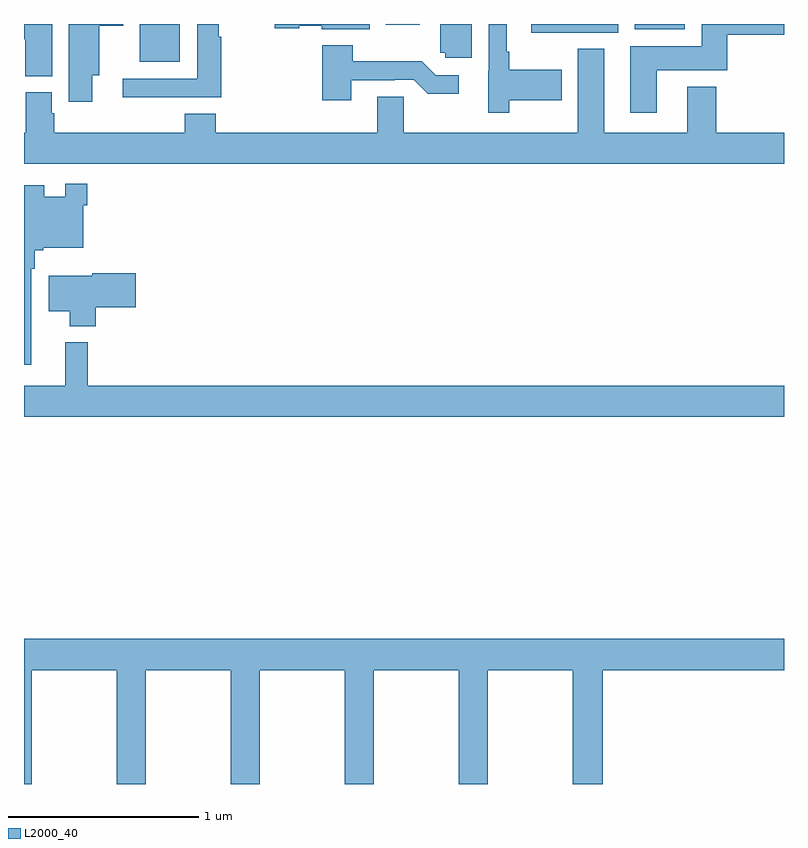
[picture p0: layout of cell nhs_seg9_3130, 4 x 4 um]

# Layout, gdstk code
import gdstk
lib = gdstk.Library(unit=1e-6, precision=1e-09)
def R(c, l, rs):  # rectangles x0, y0, x1, y1
    for r in rs: c.add(gdstk.rectangle(r[:2], r[2:], *l))
def P(c, l, *ps):  # polygons
    for p in ps: c.add(gdstk.Polygon(p, *l))
L2000_40 = (2000, 40)

nhs_seg9_3130 = lib.new_cell('nhs_seg9_3130')
R(nhs_seg9_3130, L2000_40, [(291.608,1186.301,291.82,1186.5), (293.67,1186.454,294.127,1186.5), (294.215,1186.472,294.478,1186.5), (292.905,1186.496,293.083,1186.5)])
P(nhs_seg9_3130, L2000_40, [(293.554,1186.1),(293.83,1186.1),(293.83,1186.258),(293.554,1186.258),(293.554,1186.354),(293.541,1186.354),(293.541,1186.5),(293.445,1186.5),(293.445,1186.254),(293.444,1186.254),(293.444,1186.032),(293.554,1186.032)],
  [(293.356,1186.5),(293.192,1186.5),(293.192,1186.35),(293.217,1186.35),(293.217,1186.323),(293.356,1186.323)],
  [(292.037,1186.433),(292.024,1186.433),(292.024,1186.5),(291.911,1186.5),(291.911,1186.212),(291.519,1186.212),(291.519,1186.115),(292.037,1186.115)],
  [(294.331,1186.256),(294.701,1186.256),(294.701,1186.444),(295,1186.444),(295,1186.5),(294.566,1186.5),(294.566,1186.384),(294.191,1186.384),(294.191,1186.032),(294.331,1186.032)],
  [(291.148,1186.5),(291,1186.5),(291,1186.421),(291.007,1186.421),(291.007,1186.225),(291.148,1186.225)],
  [(291.358,1186.229),(291.397,1186.229),(291.397,1186.49),(291.523,1186.49),(291.523,1186.5),(291.236,1186.5),(291.236,1186.092),(291.358,1186.092)],
  [(292.82,1186.5),(292.32,1186.5),(292.32,1186.478),(292.449,1186.478),(292.449,1186.49),(292.566,1186.49),(292.566,1186.472),(292.82,1186.472)],
  [(292.723,1186.203),(292.952,1186.203),(292.952,1186.206),(293.052,1186.206),(293.125,1186.133),(293.287,1186.133),(293.287,1186.23),(293.166,1186.23),(293.093,1186.303),(292.731,1186.303),(292.731,1186.387),(292.571,1186.387),(292.571,1186.098),(292.723,1186.098)],
  [(295,1185.928),(294.644,1185.928),(294.644,1186.171),(294.491,1186.171),(294.491,1185.928),(294.055,1185.928),(294.055,1186.369),(293.915,1186.369),(293.915,1185.928),(292.998,1185.928),(292.998,1186.118),(292.859,1186.118),(292.859,1185.928),(292.01,1185.928),(292.01,1186.027),(291.845,1186.027),(291.845,1185.928),(291.158,1185.928),(291.158,1186.029),(291.145,1186.029),(291.145,1186.14),(291.01,1186.14),(291.01,1185.928),(291,1185.928),(291,1185.764),(295,1185.764)],
  [(291.039,1185.212),(291.057,1185.212),(291.057,1185.308),(291.102,1185.308),(291.102,1185.323),(291.312,1185.323),(291.312,1185.545),(291.332,1185.545),(291.332,1185.658),(291.216,1185.658),(291.216,1185.592),(291.106,1185.592),(291.106,1185.652),(291,1185.652),(291,1184.706),(291.039,1184.706)],
  [(291.377,1185.01),(291.589,1185.01),(291.589,1185.188),(291.36,1185.188),(291.36,1185.175),(291.129,1185.175),(291.129,1184.987),(291.242,1184.987),(291.242,1184.909),(291.377,1184.909)],
  [(295,1184.596),(291.335,1184.596),(291.335,1184.824),(291.218,1184.824),(291.218,1184.596),(291,1184.596),(291,1184.432),(295,1184.432)],
  [(291,1182.5),(291.042,1182.5),(291.042,1183.1),(291.487,1183.1),(291.487,1182.5),(291.642,1182.5),(291.642,1183.1),(292.087,1183.1),(292.087,1182.5),(292.242,1182.5),(292.242,1183.1),(292.687,1183.1),(292.687,1182.5),(292.842,1182.5),(292.842,1183.1),(293.287,1183.1),(293.287,1182.5),(293.442,1182.5),(293.442,1183.1),(293.887,1183.1),(293.887,1182.5),(294.047,1182.5),(294.047,1183.1),(295,1183.1),(295,1183.264),(291,1183.264)])

lib.write_gds('nhs_seg9_3130.gds')
